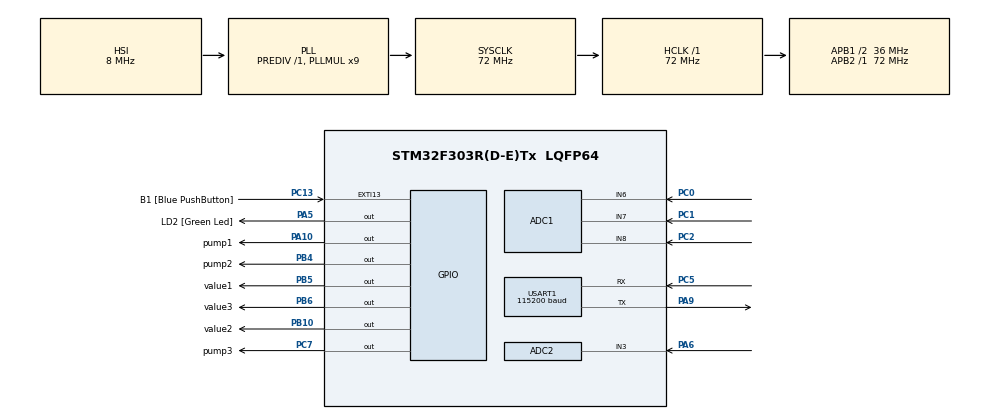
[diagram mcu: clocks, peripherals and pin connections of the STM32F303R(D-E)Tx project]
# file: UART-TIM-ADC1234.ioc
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ADC1.Channel-7\#ChannelRegularConversion=ADC_CHANNEL_6
ADC1.Channel-8\#ChannelRegularConversion=ADC_CHANNEL_7
ADC1.Channel-9\#ChannelRegularConversion=ADC_CHANNEL_8
ADC1.DMAContinuousRequests=ENABLE
ADC1.ExternalTrigConv=ADC_EXTERNALTRIGCONV_T3_TRGO
ADC1.NbrOfConversion=3
ADC1.NbrOfConversionFlag=1
ADC1.Offset-7\#ChannelRegularConversion=0
ADC1.Offset-8\#ChannelRegularConversion=0
ADC1.Offset-9\#ChannelRegularConversion=0
ADC1.OffsetNumber-7\#ChannelRegularConversion=ADC_OFFSET_NONE
ADC1.OffsetNumber-8\#ChannelRegularConversion=ADC_OFFSET_NONE
ADC1.OffsetNumber-9\#ChannelRegularConversion=ADC_OFFSET_NONE
ADC1.Rank-7\#ChannelRegularConversion=1
ADC1.Rank-8\#ChannelRegularConversion=2
ADC1.Rank-9\#ChannelRegularConversion=3
ADC1.SamplingTime-7\#ChannelRegularConversion=ADC_SAMPLETIME_61CYCLES_5
ADC1.SamplingTime-8\#ChannelRegularConversion=ADC_SAMPLETIME_61CYCLES_5
ADC1.SamplingTime-9\#ChannelRegularConversion=ADC_SAMPLETIME_61CYCLES_5
ADC1.SamplingTimeOPAMP-8\#ChannelRegularConversion=ADC_SAMPLETIME_61CYCLES_5
ADC1.SamplingTimeOPAMP-9\#ChannelRegularConversion=ADC_SAMPLETIME_61CYCLES_5
ADC1.master=1
ADC2.Channel-2\#ChannelRegularConversion=ADC_CHANNEL_3
ADC2.DMAContinuousRequests=ENABLE
ADC2.ExternalTrigConv=ADC_EXTERNALTRIGCONV_T3_TRGO
ADC2.NbrOfConversionFlag=1
ADC2.Offset-2\#ChannelRegularConversion=0
ADC2.OffsetNumber-2\#ChannelRegularConversion=ADC_OFFSET_NONE
ADC2.Rank-2\#ChannelRegularConversion=1
ADC2.SamplingTime-2\#ChannelRegularConversion=ADC_SAMPLETIME_61CYCLES_5
ADC2.SamplingTimeOPAMP-2\#ChannelRegularConversion=ADC_SAMPLETIME_61CYCLES_5
Dma.ADC1.2.Direction=DMA_PERIPH_TO_MEMORY
Dma.ADC1.2.Instance=DMA1_Channel1
Dma.ADC1.2.MemDataAlignment=DMA_MDATAALIGN_WORD
Dma.ADC1.2.MemInc=DMA_MINC_ENABLE
Dma.ADC1.2.Mode=DMA_CIRCULAR
Dma.ADC1.2.PeriphDataAlignment=DMA_PDATAALIGN_WORD
Dma.ADC1.2.PeriphInc=DMA_PINC_DISABLE
Dma.ADC1.2.Priority=DMA_PRIORITY_LOW
Dma.ADC2.3.Direction=DMA_PERIPH_TO_MEMORY
Dma.ADC2.3.Instance=DMA2_Channel1
Dma.ADC2.3.MemDataAlignment=DMA_MDATAALIGN_WORD
Dma.ADC2.3.MemInc=DMA_MINC_ENABLE
Dma.ADC2.3.Mode=DMA_CIRCULAR
Dma.ADC2.3.PeriphDataAlignment=DMA_PDATAALIGN_WORD
Dma.ADC2.3.PeriphInc=DMA_PINC_DISABLE
Dma.ADC2.3.Priority=DMA_PRIORITY_LOW
Dma.Request0=USART1_RX
Dma.Request1=USART1_TX
Dma.Request2=ADC1
Dma.Request3=ADC2
Dma.USART1_RX.0.Direction=DMA_PERIPH_TO_MEMORY
Dma.USART1_RX.0.Instance=DMA1_Channel5
Dma.USART1_RX.0.MemDataAlignment=DMA_MDATAALIGN_BYTE
Dma.USART1_RX.0.MemInc=DMA_MINC_ENABLE
Dma.USART1_RX.0.Mode=DMA_CIRCULAR
Dma.USART1_RX.0.PeriphDataAlignment=DMA_PDATAALIGN_BYTE
Dma.USART1_RX.0.PeriphInc=DMA_PINC_DISABLE
Dma.USART1_RX.0.Priority=DMA_PRIORITY_MEDIUM
Dma.USART1_TX.1.Direction=DMA_MEMORY_TO_PERIPH
Dma.USART1_TX.1.Instance=DMA1_Channel4
Dma.USART1_TX.1.MemDataAlignment=DMA_MDATAALIGN_BYTE
Dma.USART1_TX.1.MemInc=DMA_MINC_ENABLE
Dma.USART1_TX.1.Mode=DMA_NORMAL
Dma.USART1_TX.1.PeriphDataAlignment=DMA_PDATAALIGN_BYTE
Dma.USART1_TX.1.PeriphInc=DMA_PINC_DISABLE
Dma.USART1_TX.1.Priority=DMA_PRIORITY_LOW
Mcu.Family=STM32F3
Mcu.Name=STM32F303R(D-E)Tx
Mcu.Package=LQFP64
NVIC.DMA1_Channel1_IRQn=true\:0\:0\:false\:false\:true\:false\:true
NVIC.DMA1_Channel4_IRQn=true\:0\:0\:false\:false\:true\:false\:true
NVIC.DMA1_Channel5_IRQn=true\:0\:0\:false\:false\:true\:false\:true
NVIC.DMA2_Channel1_IRQn=true\:0\:0\:false\:false\:true\:false\:true
NVIC.PriorityGroup=NVIC_PRIORITYGROUP_1
NVIC.USART1_IRQn=true\:0\:0\:true\:false\:true\:true\:true
PA10.GPIO_Label=pump1
PA10.Signal=GPIO_Output
PA13.GPIO_Label=TMS
PA13.Mode=Serial_Wire
PA13.Signal=SYS_JTMS-SWDIO
PA14.GPIO_Label=TCK
PA14.Mode=Serial_Wire
PA14.Signal=SYS_JTCK-SWCLK
PA2.GPIO_Label=USART_TX
PA2.GPIO_Mode=GPIO_MODE_AF_PP
PA2.GPIO_PuPd=GPIO_NOPULL
PA2.GPIO_Speed=GPIO_SPEED_FREQ_LOW
PA2.Signal=USART2_TX
PA3.GPIO_Label=USART_RX
PA3.GPIO_Mode=GPIO_MODE_AF_PP
PA3.GPIO_PuPd=GPIO_NOPULL
PA3.GPIO_Speed=GPIO_SPEED_FREQ_LOW
PA3.Signal=USART2_RX
PA5.GPIO_Label=LD2 [Green Led]
PA5.GPIO_PuPd=GPIO_NOPULL
PA5.GPIO_Speed=GPIO_SPEED_FREQ_LOW
PA5.Signal=GPIO_Output
PA6.Mode=IN3-Single-Ended
PA6.Signal=ADC2_IN3
PA9.Mode=Asynchronous
PA9.Signal=USART1_TX
PB10.GPIO_Label=value2
PB10.Signal=GPIO_Output
PB3.GPIO_Label=SWO
PB3.Signal=SYS_JTDO-TRACESWO
PB4.GPIO_Label=pump2
PB4.Signal=GPIO_Output
PB5.GPIO_Label=value1
PB5.Signal=GPIO_Output
PB6.GPIO_Label=value3
PB6.Signal=GPIO_Output
PC0.Signal=ADCx_IN6
PC1.Signal=ADCx_IN7
PC13.GPIO_Label=B1 [Blue PushButton]
PC13.GPIO_ModeDefaultEXTI=GPIO_MODE_IT_FALLING
PC13.Signal=GPXTI13
PC14-OSC32_IN.Mode=LSE-External-Oscillator
PC14-OSC32_IN.Signal=RCC_OSC32_IN
PC15-OSC32_OUT.Mode=LSE-External-Oscillator
PC15-OSC32_OUT.Signal=RCC_OSC32_OUT
PC2.Signal=ADCx_IN8
PC5.Mode=Asynchronous
PC5.Signal=USART1_RX
PC7.GPIO_Label=pump3
PC7.Signal=GPIO_Output
PF0-OSC_IN.Mode=HSE-External-Clock-Source
PF0-OSC_IN.Signal=RCC_OSC_IN
PF1-OSC_OUT.Signal=RCC_OSC_OUT
ProjectManager.HeapSize=0x200
ProjectManager.StackSize=0x400
ProjectManager.TargetToolchain=MDK-ARM V5.27
RCC.AHBFreq_Value=72000000
RCC.APB1CLKDivider=RCC_HCLK_DIV2
RCC.APB1Freq_Value=36000000
RCC.APB1TimFreq_Value=72000000
RCC.APB2Freq_Value=72000000
RCC.APB2TimFreq_Value=72000000
RCC.CortexFreq_Value=72000000
RCC.HCLKFreq_Value=72000000
RCC.HSE_VALUE=8000000
RCC.HSI_VALUE=8000000
RCC.PLLM=8
RCC.PLLMUL=RCC_PLL_MUL9
RCC.PLLN=336
RCC.PLLP=RCC_PLLP_DIV4
RCC.PLLQ=7
RCC.RCC_PLLsource_Clock_Source_FROM_HSE=RCC_HSE_PREDIV_DIV2
RCC.SYSCLKFreq_VALUE=72000000
RCC.SYSCLKSourceVirtual=RCC_SYSCLKSOURCE_PLLCLK
RCC.USBFreq_Value=72000000
SH.ADCx_IN6.0=ADC1_IN6,IN6-Single-Ended
SH.ADCx_IN7.0=ADC1_IN7,IN7-Single-Ended
SH.ADCx_IN8.0=ADC1_IN8,IN8-Single-Ended
TIM3.Period=10-1
TIM3.Prescaler=7200-1
TIM3.TIM_MasterOutputTrigger=TIM_TRGO_UPDATE
TIM4.Period=10-1
TIM4.Prescaler=7200-1
TIM4.TIM_MasterOutputTrigger=TIM_TRGO_UPDATE
USART1.BaudRate=115200
USART1.VirtualMode-Asynchronous=VM_ASYNC
VP_TIM3_VS_ClockSourceINT.Mode=Internal
VP_TIM4_VS_ClockSourceINT.Mode=Internal
board=NUCLEO-F303RE

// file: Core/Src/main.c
/* USER CODE BEGIN Header */
/**
  ******************************************************************************
  * @file           : main.c
  * @brief          : Main program body
  ******************************************************************************
  * @attention
  *
  * <h2><center>&copy; Copyright (c) 2021 STMicroelectronics.
  * All rights reserved.</center></h2>
  *
  * This software component is licensed by ST under BSD 3-Clause license,
  * the "License"; You may not use this file except in compliance with the
  * License. You may obtain a copy of the License at:
  *                        opensource.org/licenses/BSD-3-Clause
  *
  ******************************************************************************
  */
/* USER CODE END Header */
#include "main.h"
#include "adc.h"
#include "dma.h"
#include "tim.h"
#include "usart.h"
#include "gpio.h"

/* USER CODE BEGIN Includes */
#include <stdio.h>
#include <string.h>
/* USER CODE END Includes */

/* USER CODE BEGIN PD */

/*定义串口接收数据的参数--------------------------------------------------------*/
#define RX_CMD_LEN  1																			//UART_DMA接收数组长度
#define MAX_RX_CMD_LEN  10																//UART串口接收缓存数组长度
unsigned char UART1_Rx_Buf[MAX_RX_CMD_LEN] = {0};					//UART串口接收缓存数组
unsigned char UART1_temp[RX_CMD_LEN] = {0};								//UART_DMA接收数组
unsigned char UART1_Rx_flg = 0;                 					//接收完一个命令标志位
unsigned int  UART1_Rx_cnt = 0; 													//UART串口接收缓存数组index
char airMode;																							//控制加压指令，一个字节

/*定义ADC1接收数组-------------------------------------------------------------*/
#define BATCH_DATA_LEN 3
uint32_t ADC1_DMA_Buffer[BATCH_DATA_LEN];									//ADC1接收数据缓存数组

/*定义ADC2接收变量-------------------------------------------------------------*/
uint32_t ADC2_Value;

/* USER CODE END PD */

void SystemClock_Config(void);

/* USER CODE BEGIN 0 */
/*-----------------------------------------------------------------------------
 *功    能：加压函数
 *输入参数：pos，mmhg_pressure，pessureValue
 *输出参数：
 *-----------------------------------------------------------------------------*/
void jiaya(int pos,float mmhg_pressure, float pessureValue)
{
	if 			(pos == 1) {HAL_GPIO_WritePin(value1_GPIO_Port,value1_Pin,1);}
  else if (pos == 2) {HAL_GPIO_WritePin(value2_GPIO_Port,value2_Pin,1);}
  else if (pos == 3) {HAL_GPIO_WritePin(value3_GPIO_Port,value3_Pin,1);}
  if (mmhg_pressure > pessureValue)
	{
     if 		 (pos == 1) {HAL_GPIO_WritePin(pump1_GPIO_Port,pump1_Pin,0);}
     else if (pos == 2) {HAL_GPIO_WritePin(pump2_GPIO_Port,pump2_Pin,0);}
     else if (pos == 3) {HAL_GPIO_WritePin(pump3_GPIO_Port,pump3_Pin,0);}
  }
}
/* USER CODE END 0 */

int main(void)
{

  /* MCU Configuration--------------------------------------------------------*/

  /* Reset of all peripherals, Initializes the Flash interface and the Systick. */
  HAL_Init();

  /* Configure the system clock */
  SystemClock_Config();

  /* Initialize all configured peripherals */
  MX_GPIO_Init();
  MX_DMA_Init();
  MX_USART1_UART_Init();
  MX_ADC1_Init();
  MX_TIM3_Init();
  MX_ADC2_Init();
  MX_TIM4_Init();
  /* USER CODE BEGIN 2 */
	HAL_UART_Receive_DMA(&huart1,UART1_temp,RX_CMD_LEN);										//串口接收数据

	HAL_TIM_Base_Start(&htim3);																							//启动定时器3
	HAL_ADC_Start_DMA(&hadc1,ADC1_DMA_Buffer,BATCH_DATA_LEN);								//ADC1以DMA模式读取三通道数据
	//HAL_ADC_Start_IT(&hadc2);																								//启动ADC2，中断模式
  /* USER CODE END 2 */

  /* Infinite loop */
  /* USER CODE BEGIN WHILE */
  while (1)
  {
		/*------------------------------------------------------------------------------------------------------------------
		 *该部分为三个脉搏信号采集，即ADC2，ADC3，ADC4
		 -------------------------------------------------------------------------------------------------------------------*/
		printf("ADC2:%d",ADC2_Value);

    /* USER CODE END WHILE */

    /* USER CODE BEGIN 3 */
		/*------------------------------------------------------------------------------------------------------------------
		 *该部分为利用airMode进行压力控制
		 -------------------------------------------------------------------------------------------------------------------*/
		//printf("ADC1:%d,%d,%d\r\n",ADC1_DMA_Buffer[0],ADC1_DMA_Buffer[1],ADC1_DMA_Buffer[2]);

		float ADC1_Channel_1 = (float)ADC1_DMA_Buffer[0]*3.3f/4096;
		float ADC1_Channel_6 = (float)ADC1_DMA_Buffer[1]*3.3f/4096;
		float ADC1_Channel_8 = (float)ADC1_DMA_Buffer[2]*3.3f/4096;
		float mmhg_pressure1 = 106.57 * ADC1_Channel_1 - 19.72;
		float mmhg_pressure2 = 106.57 * ADC1_Channel_6 - 19.72;
		float mmhg_pressure3 = 106.57 * ADC1_Channel_8 - 19.72;

		//printf("mmhg_pressure:%f,%f,%f\r\n",mmhg_pressure1,mmhg_pressure2,mmhg_pressure3);

		//printf("airMode:%c \r\n",airMode);
		if(UART1_Rx_flg)
		{
			// 业务代码开始
			airMode = UART1_Rx_Buf[0];
			printf("You input is:%c \r\n",airMode);

			// 业务代码结束
			for(int i = 0; i < UART1_Rx_cnt; i++)   								// 清空接收数组
			{
					UART1_Rx_Buf[i] = 0;
			}
			UART1_Rx_cnt = 0;                      									// 清空接收计数器
			UART1_Rx_flg = 0;                      									// 清空接收完成标志位
		}

		if ((airMode >=  'a' && airMode <=  'z') || airMode ==  '9')
		{
			HAL_GPIO_WritePin(pump1_GPIO_Port,pump1_Pin,1);
			HAL_GPIO_WritePin(pump2_GPIO_Port,pump2_Pin,1);
			HAL_GPIO_WritePin(pump3_GPIO_Port,pump3_Pin,1);
		}

		switch (airMode){
			 case 'a': jiaya(1, mmhg_pressure1, 50.0);  jiaya(2, mmhg_pressure2, 50.0);  jiaya(3, mmhg_pressure3, 50.0);  break;
			 case 'b': jiaya(1, mmhg_pressure1, 100.0); jiaya(2, mmhg_pressure2, 50.0);  jiaya(3, mmhg_pressure3, 50.0);  break;
			 case 'c': jiaya(1, mmhg_pressure1, 150.0); jiaya(2, mmhg_pressure2, 50.0);  jiaya(3, mmhg_pressure3, 50.0);  break;
			 case 'd': jiaya(1, mmhg_pressure1, 50.0);  jiaya(2, mmhg_pressure2, 100.0); jiaya(3, mmhg_pressure3, 50.0);  break;
			 case 'e': jiaya(1, mmhg_pressure1, 100.0); jiaya(2, mmhg_pressure2, 100.0); jiaya(3, mmhg_pressure3, 50.0);  break;
			 case 'f': jiaya(1, mmhg_pressure1, 150.0); jiaya(2, mmhg_pressure2, 100.0); jiaya(3, mmhg_pressure3, 50.0);  break;
			 case 'g': jiaya(1, mmhg_pressure1, 50.0);  jiaya(2, mmhg_pressure2, 150.0); jiaya(3, mmhg_pressure3, 50.0);  break;
			 case 'h': jiaya(1, mmhg_pressure1, 100.0); jiaya(2, mmhg_pressure2, 150.0); jiaya(3, mmhg_pressure3, 50.0);  break;
			 case 'i': jiaya(1, mmhg_pressure1, 150.0); jiaya(2, mmhg_pressure2, 150.0); jiaya(3, mmhg_pressure3, 50.0);  break;
			 case 'j': jiaya(1, mmhg_pressure1, 50.0);  jiaya(2, mmhg_pressure2, 50.0);  jiaya(3, mmhg_pressure3, 100.0); break;
			 case 'k': jiaya(1, mmhg_pressure1, 100.0); jiaya(2, mmhg_pressure2, 50.0);  jiaya(3, mmhg_pressure3, 100.0); break;
			 case 'l': jiaya(1, mmhg_pressure1, 150.0); jiaya(2, mmhg_pressure2, 50.0);  jiaya(3, mmhg_pressure3, 100.0); break;
			 case 'm': jiaya(1, mmhg_pressure1, 50.0);  jiaya(2, mmhg_pressure2, 100.0); jiaya(3, mmhg_pressure3, 100.0); break;
			 case 'n': jiaya(1, mmhg_pressure1, 100.0); jiaya(2, mmhg_pressure2, 100.0); jiaya(3, mmhg_pressure3, 100.0); break;
			 case 'o': jiaya(1, mmhg_pressure1, 150.0); jiaya(2, mmhg_pressure2, 100.0); jiaya(3, mmhg_pressure3, 100.0); break;
			 case 'p': jiaya(1, mmhg_pressure1, 50.0);  jiaya(2, mmhg_pressure2, 150.0); jiaya(3, mmhg_pressure3, 100.0); break;
			 case 'q': jiaya(1, mmhg_pressure1, 100.0); jiaya(2, mmhg_pressure2, 150.0); jiaya(3, mmhg_pressure3, 100.0); break;
			 case 'r': jiaya(1, mmhg_pressure1, 150.0); jiaya(2, mmhg_pressure2, 150.0); jiaya(3, mmhg_pressure3, 100.0); break;
			 case 's': jiaya(1, mmhg_pressure1, 50.0);  jiaya(2, mmhg_pressure2, 50.0);  jiaya(3, mmhg_pressure3, 150.0); break;
			 case 't': jiaya(1, mmhg_pressure1, 100.0); jiaya(2, mmhg_pressure2, 50.0);  jiaya(3, mmhg_pressure3, 150.0); break;
			 case 'u': jiaya(1, mmhg_pressure1, 150.0); jiaya(2, mmhg_pressure2, 50.0);  jiaya(3, mmhg_pressure3, 150.0); break;
			 case 'v': jiaya(1, mmhg_pressure1, 50.0);  jiaya(2, mmhg_pressure2, 100.0); jiaya(3, mmhg_pressure3, 150.0); break;
			 case 'w': jiaya(1, mmhg_pressure1, 100.0); jiaya(2, mmhg_pressure2, 100.0); jiaya(3, mmhg_pressure3, 150.0); break;
			 case 'x': jiaya(1, mmhg_pressure1, 150.0); jiaya(2, mmhg_pressure2, 100.0); jiaya(3, mmhg_pressure3, 150.0); break;
			 case 'y': jiaya(1, mmhg_pressure1, 50.0);  jiaya(2, mmhg_pressure2, 150.0); jiaya(3, mmhg_pressure3, 150.0); break;
			 case 'z': jiaya(1, mmhg_pressure1, 100.0); jiaya(2, mmhg_pressure2, 150.0); jiaya(3, mmhg_pressure3, 150.0); break;
			 case '9': jiaya(1, mmhg_pressure1, 150.0); jiaya(2, mmhg_pressure2, 150.0); jiaya(3, mmhg_pressure3, 150.0); break;
		 }

		if (airMode == '8')
		{
			HAL_GPIO_WritePin(pump1_GPIO_Port,pump1_Pin,0);
			HAL_GPIO_WritePin(pump2_GPIO_Port,pump2_Pin,0);
			HAL_GPIO_WritePin(pump3_GPIO_Port,pump3_Pin,0);
			HAL_GPIO_WritePin(value1_GPIO_Port,value1_Pin,0);
			HAL_GPIO_WritePin(value2_GPIO_Port,value2_Pin,0);
			HAL_GPIO_WritePin(value3_GPIO_Port,value3_Pin,0);
		}

		HAL_Delay(500);																									//延时函数

  }
  /* USER CODE END 3 */
}

void SystemClock_Config(void)
{
  RCC_OscInitTypeDef RCC_OscInitStruct = {0};
  RCC_ClkInitTypeDef RCC_ClkInitStruct = {0};
  RCC_PeriphCLKInitTypeDef PeriphClkInit = {0};

  /** Initializes the RCC Oscillators according to the specified parameters
  * in the RCC_OscInitTypeDef structure.
  */
  RCC_OscInitStruct.OscillatorType = RCC_OSCILLATORTYPE_HSI;
  RCC_OscInitStruct.HSIState = RCC_HSI_ON;
  RCC_OscInitStruct.HSICalibrationValue = RCC_HSICALIBRATION_DEFAULT;
  RCC_OscInitStruct.PLL.PLLState = RCC_PLL_ON;
  RCC_OscInitStruct.PLL.PLLSource = RCC_PLLSOURCE_HSI;
  RCC_OscInitStruct.PLL.PLLMUL = RCC_PLL_MUL9;
  RCC_OscInitStruct.PLL.PREDIV = RCC_PREDIV_DIV1;
  if (HAL_RCC_OscConfig(&RCC_OscInitStruct) != HAL_OK)
  {
    Error_Handler();
  }
  /** Initializes the CPU, AHB and APB buses clocks
  */
  RCC_ClkInitStruct.ClockType = RCC_CLOCKTYPE_HCLK|RCC_CLOCKTYPE_SYSCLK
                              |RCC_CLOCKTYPE_PCLK1|RCC_CLOCKTYPE_PCLK2;
  RCC_ClkInitStruct.SYSCLKSource = RCC_SYSCLKSOURCE_PLLCLK;
  RCC_ClkInitStruct.AHBCLKDivider = RCC_SYSCLK_DIV1;
  RCC_ClkInitStruct.APB1CLKDivider = RCC_HCLK_DIV2;
  RCC_ClkInitStruct.APB2CLKDivider = RCC_HCLK_DIV1;

  if (HAL_RCC_ClockConfig(&RCC_ClkInitStruct, FLASH_LATENCY_2) != HAL_OK)
  {
    Error_Handler();
  }
  PeriphClkInit.PeriphClockSelection = RCC_PERIPHCLK_USART1|RCC_PERIPHCLK_ADC12
                              |RCC_PERIPHCLK_TIM34;
  PeriphClkInit.Usart1ClockSelection = RCC_USART1CLKSOURCE_PCLK2;
  PeriphClkInit.Adc12ClockSelection = RCC_ADC12PLLCLK_DIV1;
  PeriphClkInit.Tim34ClockSelection = RCC_TIM34CLK_HCLK;
  if (HAL_RCCEx_PeriphCLKConfig(&PeriphClkInit) != HAL_OK)
  {
    Error_Handler();
  }
}

/* USER CODE BEGIN 4 */
// 串口重定向
int fputc(int ch,FILE *f)
{
	HAL_UART_Transmit_DMA(&huart1,(uint8_t *)&ch,1);
	HAL_Delay(1);
	return 0;
}

//UART_DMA接收完成中断回调函数
void HAL_UART_RxCpltCallback(UART_HandleTypeDef *huart)
{
	if(huart->Instance == USART1)
	{
		UART1_Rx_Buf[UART1_Rx_cnt] = UART1_temp[0];
		UART1_Rx_cnt++;
		if(';' == UART1_temp[0])
		{
			UART1_Rx_flg = 1;
		}
		HAL_UART_Receive_DMA(&huart1,UART1_temp,RX_CMD_LEN);
	}
}

//ADC转换完成中断回调函数
/*
void HAL_ADC_ConvCpltCallback(ADC_HandleTypeDef* hadc)
{
	if(hadc->Instance == ADC2)
	{
		ADC2_Value = HAL_ADC_GetValue(hadc);
	}
}
*/
/* USER CODE END 4 */

void Error_Handler(void)
{
  __disable_irq();
  while (1)
  {
  }
}

/************************ (C) COPYRIGHT STMicroelectronics *****END OF FILE****/
